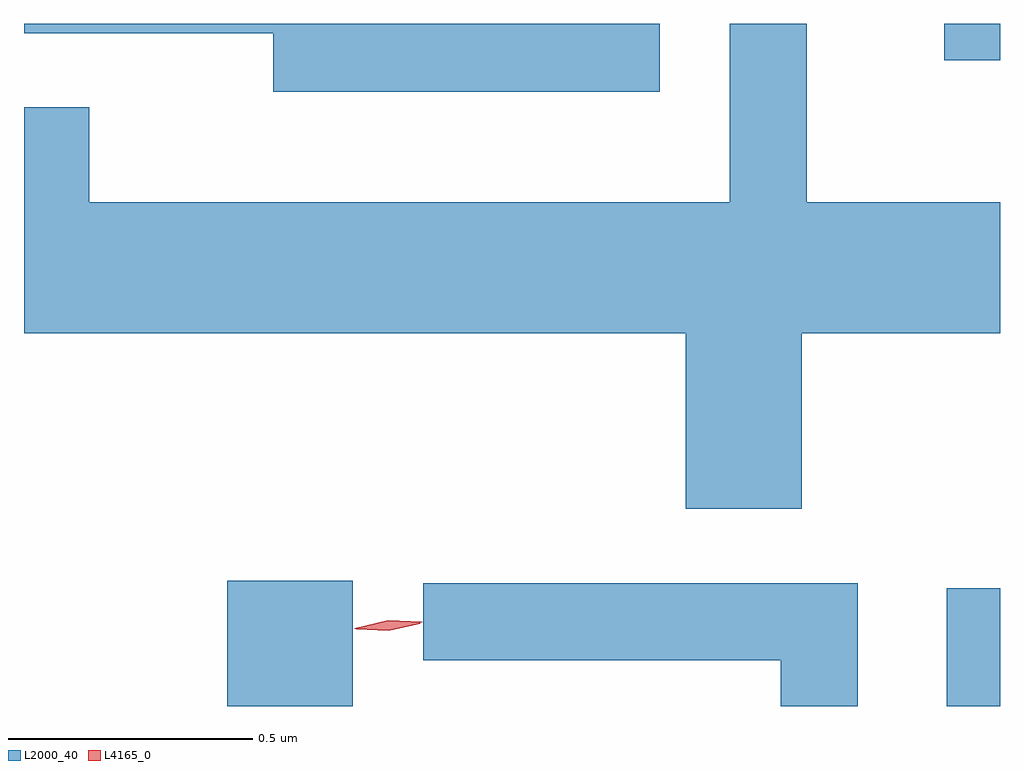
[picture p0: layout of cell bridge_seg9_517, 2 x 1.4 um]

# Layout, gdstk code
import gdstk
lib = gdstk.Library(unit=1e-6, precision=1e-09)
def R(c, l, rs):  # rectangles x0, y0, x1, y1
    for r in rs: c.add(gdstk.rectangle(r[:2], r[2:], *l))
def P(c, l, *ps):  # polygons
    for p in ps: c.add(gdstk.Polygon(p, *l))
L2000_40 = (2000, 40)
L4165_0 = (4165, 0)

bridge_seg9_517 = lib.new_cell('bridge_seg9_517')
R(bridge_seg9_517, L2000_40, [(539.016,1944.432,539.274,1944.689), (540.491,1944.432,540.6,1944.674), (540.486,1945.756,540.6,1945.83)])
P(bridge_seg9_517, L2000_40, [(540.194,1945.196),(540.6,1945.196),(540.6,1945.464),(540.204,1945.464),(540.204,1945.83),(540.046,1945.83),(540.046,1945.464),(538.734,1945.464),(538.734,1945.659),(538.6,1945.659),(538.6,1945.196),(539.956,1945.196),(539.956,1944.836),(540.194,1944.836)],
  [(539.903,1945.83),(538.6,1945.83),(538.6,1945.811),(539.111,1945.811),(539.111,1945.691),(539.903,1945.691)],
  [(540.309,1944.684),(539.418,1944.684),(539.418,1944.526),(540.151,1944.526),(540.151,1944.432),(540.309,1944.432)])
P(bridge_seg9_517, L4165_0, [(539.347,1944.588),(539.278,1944.591),(539.278,1944.592),(539.278,1944.592),(539.346,1944.608),(539.415,1944.605),(539.416,1944.604),(539.415,1944.604)],
  [(539.347,1944.586),(539.281,1944.589),(539.28,1944.589),(539.281,1944.59),(539.346,1944.606),(539.412,1944.602),(539.412,1944.602),(539.412,1944.601)])

lib.write_gds('bridge_seg9_517.gds')
